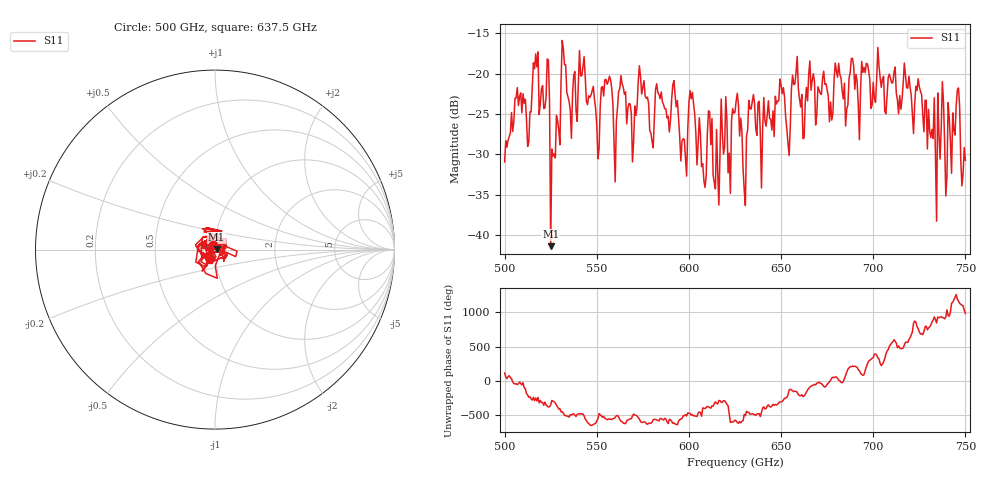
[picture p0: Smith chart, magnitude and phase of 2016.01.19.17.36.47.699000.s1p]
!Created with skrf (http://scikit-rf.org).
# GHz S RI R 50.0
!freq ReS11 ImS11
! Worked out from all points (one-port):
!   401 points, 500 GHz to 750 GHz, reference 50 ohm
!   lowest |S11| = -41.4 dB at 525 GHz (marker M1), VSWR 1.02, Z = 50.8 + j0.184 ohm
!   |S11| at or under -10 dB: start of sweep to end of sweep
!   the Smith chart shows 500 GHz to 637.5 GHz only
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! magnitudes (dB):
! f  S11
! 500 GHz  -30.9
! 506.9 GHz  -21.7
! 513.1 GHz  -28.4
! 516.9 GHz  -17.6
! 523.1 GHz  -18.2
! 525 GHz  -41.4
! 526.2 GHz  -30.2
! 531.2 GHz  -15.9
! 541.9 GHz  -20.3
! 550.6 GHz  -30.5
! 562.5 GHz  -21.9
! 593.8 GHz  -23.3
! 597.5 GHz  -28.1
! 601.9 GHz  -22.3
! 608.1 GHz  -33.3
! 611.2 GHz  -24.7
! 615 GHz  -26.9
! 625 GHz  -24.8
! 630 GHz  -34.4
! 633.8 GHz  -24.4
! 650.6 GHz  -22.5
! 653.8 GHz  -28.7
! 656.2 GHz  -20.2
! 687.5 GHz  -19.9
! 718.8 GHz  -21.8
! 735 GHz  -22.4
! 745.6 GHz  -22.0
! 750 GHz  -30.7
